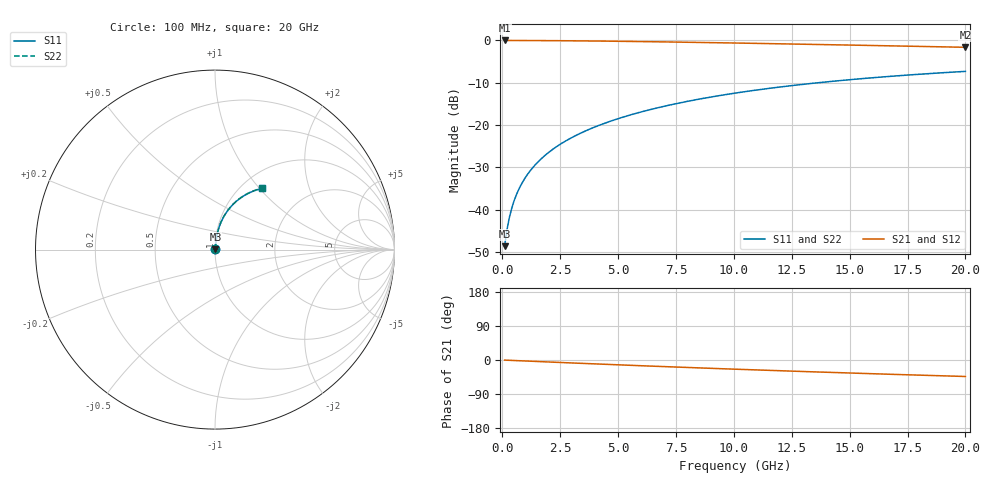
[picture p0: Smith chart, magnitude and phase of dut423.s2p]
! Touchstone file exported from HFSS 2024.1.0
!  File:  C:/UserFiles/LocalFiles/RDL_TSV_Batchsim/temp_RDL_bottom_423_1779683850.aedt
!  Generated:  12:40:07 PM May 25, 2026
!  Design:  RDL_bottom
!  Project:  temp_RDL_bottom_423_1779683850
!  Setup:  Setup1
!  Solution:  Sweep
! Variables:
!  dtsv = 10.80580581um
!  hbump = 3um
!  htsv = 91.65um
!  ldown = 581.8um
!  lrdl = 100um
!  p = 40
!  p1 = 55.9um
!  rhole = 1um
!  t = 450um
!  tdown = 4.28um
!  trdl = 3.915915916um
!  wdown = 18.49um
!  wrdl = 20um
# GHz S MA R 50.000000
! Terminal data exported
! Port[1] = RDL1_T1
! Port[2] = RDL1_T2
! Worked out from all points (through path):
!   200 points, 100 MHz to 20 GHz, reference 50 ohm
!   highest |S21| = -0.02 dB at 100 MHz (marker M1); lowest = -1.6 dB at 20 GHz (marker M2)
!   group delay of S21, straight-line fit = 6.02 ps
!   lowest |S11| = -48.6 dB at 100 MHz (marker M3), VSWR 1.01, Z = 50.3 + j0.252 ohm
!   |S11| at or under -10 dB: start of sweep to 13.65 GHz
!   |S22| runs from -48.6 to -7.3 dB; largest |S21 - S12| = 2.7e-15
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0.1  0.003712 42.4  0.9973 -0.3  0.9973 -0.3  0.003711 42.4
! Gamma 0 0 0 0
! Port Impedance 50 0 50 0
0.2  0.005727 60.2  0.9971 -0.5  0.9971 -0.5  0.005727 60.2
0.3  0.007959 67.9  0.997 -0.8  0.997 -0.8  0.007959 67.9
0.4  0.01024 72.2  0.9968 -1.1  0.9968 -1.1  0.01023 72.2
0.5  0.01252 74.9  0.9967 -1.3  0.9967 -1.3  0.01252 74.9
0.6  0.01481 76.7  0.9965 -1.6  0.9965 -1.6  0.01481 76.7
0.8  0.01942 79.1  0.9961 -2.1  0.9961 -2.1  0.01941 79.1
1.1  0.02637 81.1  0.9955 -2.9  0.9955 -2.9  0.02637 81.1
1.5  0.0357 82.3  0.9945 -3.9  0.9945 -3.9  0.0357 82.3
1.8  0.04274 82.7  0.9936 -4.7  0.9936 -4.7  0.04274 82.7
2.1  0.0498 82.8  0.9925 -5.5  0.9925 -5.5  0.04981 82.9
2.7  0.06399 82.7  0.9898 -7.0  0.9898 -7.0  0.06399 82.7
3.5  0.083 82.1  0.9855 -9.1  0.9855 -9.1  0.08302 82.1
4.2  0.09971 81.2  0.9811 -10.8  0.9811 -10.8  0.09974 81.3
5  0.1189 80.1  0.9754 -12.8  0.9754 -12.8  0.1189 80.2
5.9  0.1405 78.7  0.9683 -14.9  0.9683 -14.9  0.1405 78.8
6.8  0.162 77.2  0.9607 -17.0  0.9607 -17.0  0.1621 77.3
8.4  0.1999 74.3  0.9462 -20.7  0.9462 -20.7  0.2001 74.4
10.1  0.2393 71.0  0.9299 -24.4  0.9299 -24.4  0.2395 71.2
13.4  0.311 64.6  0.8964 -31.2  0.8964 -31.2  0.3114 64.7
16.7  0.3749 58.3  0.8621 -37.6  0.8621 -37.6  0.3755 58.4
20  0.4302 52.3  0.8281 -43.5  0.8281 -43.5  0.4309 52.5
